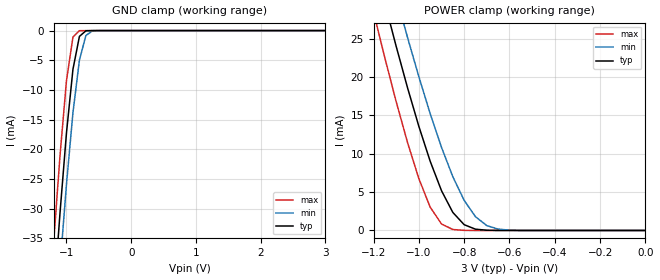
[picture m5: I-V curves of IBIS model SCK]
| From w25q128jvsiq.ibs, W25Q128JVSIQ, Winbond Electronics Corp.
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|   Model SCK
[Model]  SCK
Model_type Input
Vinl =   0.9000V
Vinh =   2.1000V
C_comp   1.5000pF   1.4500pF   1.5500pF
[Temperature Range]   25.0000   85.0000   -40.0000
[Voltage Range]   3.0000V   2.7000V   3.6000V
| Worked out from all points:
|   GND clamp passes 1 mA (typ) near -0.80 V on its own axis
|   POWER clamp passes 1 mA (typ) near -0.81 V on its own axis
[GND_clamp]
|   Voltage   I(typ)   I(min)   I(max)
-3V       -361.4mA   -368.1mA   -354.7mA
-1.2V     -45.73mA   -54.87mA   -35.99mA
-1.1V     -30.75mA   -39.83mA   -21.09mA
-1V       -17.24mA   -25.91mA   -8.443mA
-900mV    -6.527mA   -13.84mA   -1.089mA
-800mV    -979.7uA   -4.97mA    -19.9uA
-700mV    -43.25uA   -828.3uA   -194.1nA
-600mV    -1.204uA   -60.41uA   -1.784nA
3V        3pA        3.703pA    3pA
[POWER_clamp]
|   Voltage   I(typ)   I(min)   I(max)
-3V       274.7mA    273.9mA    276.2mA
-1.2V     35.46mA    41.78mA    28.47mA
-1.15V    29.63mA    36.07mA    22.49mA
-1.1V     23.99mA    30.52mA    16.78mA
-1.05V    18.61mA    25.16mA    11.46mA
-950mV    9.022mA    15.23mA    3.045mA
-900mV    5.183mA    10.83mA    844uA
-850mV    2.35mA     7.002mA    127.5uA
-800mV    753.7uA    3.924mA    13.48uA
-750mV    168.3uA    1.791mA    1.272uA
-650mV    4.847uA    176.4uA    10.55nA
0V        0A         0A         0A
